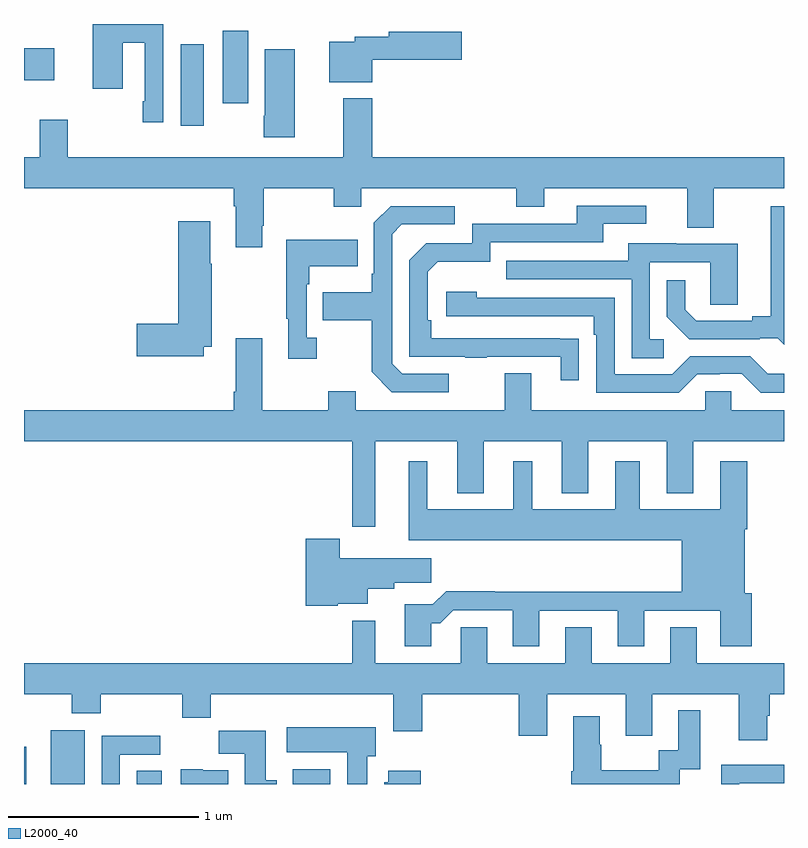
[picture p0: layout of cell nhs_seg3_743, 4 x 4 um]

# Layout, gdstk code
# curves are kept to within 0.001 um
import gdstk
lib = gdstk.Library(unit=1e-6, precision=1e-09)
def R(c, l, rs):  # rectangles x0, y0, x1, y1
    for r in rs: c.add(gdstk.rectangle(r[:2], r[2:], *l))
def P(c, l, *ps):  # polygons
    for p in ps: c.add(gdstk.Polygon(p, *l))
L2000_40 = (2000, 40)

nhs_seg3_743 = lib.new_cell('nhs_seg3_743')
R(nhs_seg3_743, L2000_40, [(147.14,744.4,147.319,744.682), (147.593,744.4,147.724,744.47), (148.415,744.4,148.612,744.478), (147.824,747.864,147.946,748.294), (148.046,747.984,148.18,748.364), (147,748.103,147.16,748.273)])
P(nhs_seg3_743, L2000_40, [(147.732,748.4),(147.362,748.4),(147.362,748.059),(147.52,748.059),(147.52,748.301),(147.636,748.301),(147.636,747.994),(147.624,747.994),(147.624,747.882),(147.732,747.882)],
  [(148.834,748.211),(149.305,748.211),(149.305,748.358),(148.92,748.358),(148.92,748.333),(148.74,748.333),(148.74,748.306),(148.607,748.306),(148.607,748.094),(148.834,748.094)],
  [(148.426,748.267),(148.268,748.267),(148.268,747.916),(148.261,747.916),(148.261,747.804),(148.426,747.804)],
  [(148.255,747.337),(148.263,747.337),(148.263,747.536),(148.63,747.536),(148.63,747.437),(148.776,747.437),(148.776,747.536),(149.59,747.536),(149.59,747.437),(149.737,747.437),(149.737,747.536),(150.491,747.536),(150.491,747.328),(150.631,747.328),(150.631,747.536),(151,747.536),(151,747.7),(148.832,747.7),(148.832,748.009),(148.679,748.009),(148.679,747.7),(147.231,747.7),(147.231,747.895),(147.083,747.895),(147.083,747.7),(147,747.7),(147,747.536),(148.103,747.536),(148.103,747.44),(148.115,747.44),(148.115,747.225),(148.255,747.225)],
  [(149.921,746.744),(149.144,746.745),(149.144,746.842),(149.124,746.842),(149.124,747.096),(149.177,747.149),(149.454,747.149),(149.454,747.252),(150.049,747.252),(150.049,747.348),(150.274,747.348),(150.274,747.444),(149.909,747.444),(149.909,747.348),(149.358,747.348),(149.358,747.246),(149.118,747.246),(149.028,747.156),(149.028,746.649),(149.323,746.649),(149.323,746.644),(149.435,746.644),(149.435,746.649),(149.825,746.649),(149.825,746.526),(149.921,746.526)],
  [(151,747.441),(150.929,747.441),(150.929,746.861),(150.833,746.861),(150.833,746.838),(150.538,746.838),(150.481,746.895),(150.481,747.052),(150.384,747.052),(150.384,746.858),(150.5,746.742),(150.872,746.742),(150.872,746.745),(150.966,746.745),(151,746.711)],
  [(149.236,746.559),(148.992,746.559),(148.938,746.613),(148.938,747.294),(148.989,747.345),(149.266,747.345),(149.266,747.441),(148.929,747.441),(148.842,747.354),(148.842,747.085),(148.83,747.085),(148.83,746.989),(148.573,746.989),(148.573,746.842),(148.83,746.842),(148.83,746.569),(148.935,746.463),(149.236,746.463)],
  [(147.946,746.702),(147.987,746.702),(147.987,747.137),(147.979,747.137),(147.979,747.361),(147.812,747.361),(147.812,746.822),(147.594,746.822),(147.594,746.651),(147.946,746.651)],
  [(148.54,746.75),(148.488,746.75),(148.488,747.029),(148.501,747.029),(148.501,747.125),(148.757,747.125),(148.757,747.265),(148.38,747.265),(148.38,746.849),(148.391,746.849),(148.391,746.637),(148.54,746.637)],
  [(150.367,746.742),(150.294,746.742),(150.294,747.147),(150.612,747.147),(150.612,746.923),(150.757,746.923),(150.757,747.243),(150.433,747.243),(150.433,747.247),(150.179,747.247),(150.179,747.153),(149.539,747.153),(149.539,747.057),(150.198,747.057),(150.198,746.641),(150.367,746.641)],
  [(151,746.559),(150.915,746.559),(150.822,746.652),(150.507,746.652),(150.411,746.556),(150.108,746.556),(150.108,746.958),(149.384,746.958),(149.384,746.992),(149.223,746.992),(149.223,746.862),(149.999,746.862),(149.999,746.765),(150.012,746.765),(150.012,746.46),(150.447,746.46),(150.543,746.556),(150.662,746.556),(150.662,746.559),(150.777,746.559),(150.877,746.459),(151,746.459)],
  [(149.671,746.563),(149.531,746.563),(149.531,746.368),(148.747,746.368),(148.747,746.467),(148.6,746.467),(148.6,746.368),(148.255,746.368),(148.255,746.746),(148.115,746.746),(148.115,746.464),(148.103,746.464),(148.103,746.368),(147,746.368),(147,746.204),(148.728,746.204),(148.728,745.755),(148.849,745.755),(148.849,746.204),(149.279,746.204),(149.279,745.931),(149.419,745.931),(149.419,746.204),(149.831,746.204),(149.831,745.931),(149.971,745.931),(149.971,746.204),(150.383,746.204),(150.383,745.931),(150.523,745.931),(150.523,746.204),(151,746.204),(151,746.368),(150.723,746.368),(150.723,746.466),(150.585,746.466),(150.585,746.368),(149.671,746.368)],
  [(149.143,745.247),(149.192,745.247),(149.259,745.314),(149.573,745.314),(149.573,745.125),(149.713,745.125),(149.713,745.311),(150.125,745.311),(150.125,745.125),(150.265,745.125),(150.265,745.311),(150.665,745.311),(150.665,745.125),(150.83,745.125),(150.83,745.404),(150.793,745.404),(150.793,745.742),(150.806,745.742),(150.806,746.098),(150.665,746.098),(150.665,745.846),(150.241,745.846),(150.241,746.098),(150.113,746.098),(150.113,745.846),(149.674,745.846),(149.674,746.098),(149.576,746.098),(149.576,745.846),(149.122,745.846),(149.122,746.098),(149.024,746.098),(149.024,745.682),(150.461,745.682),(150.461,745.412),(149.477,745.412),(149.477,745.415),(149.222,745.415),(149.152,745.345),(149.003,745.345),(149.003,745.125),(149.143,745.125)],
  [(148.65,745.349),(148.81,745.349),(148.81,745.427),(148.948,745.427),(148.948,745.459),(149.143,745.459),(149.143,745.588),(148.662,745.588),(148.662,745.69),(148.484,745.69),(148.484,745.337),(148.65,745.337)],
  [(147,744.872),(147.25,744.872),(147.25,744.773),(147.405,744.773),(147.405,744.872),(147.832,744.872),(147.832,744.748),(147.983,744.748),(147.983,744.872),(148.943,744.872),(148.943,744.678),(149.096,744.678),(149.096,744.872),(149.603,744.872),(149.603,744.654),(149.755,744.654),(149.755,744.872),(150.167,744.872),(150.167,744.654),(150.307,744.654),(150.307,744.872),(150.761,744.872),(150.761,744.63),(150.913,744.63),(150.913,744.759),(150.926,744.759),(150.926,744.872),(151,744.872),(151,745.036),(150.541,745.036),(150.541,745.226),(150.401,745.226),(150.401,745.036),(149.989,745.036),(149.989,745.226),(149.849,745.226),(149.849,745.036),(149.437,745.036),(149.437,745.226),(149.298,745.226),(149.298,745.036),(148.849,745.036),(148.849,745.258),(148.728,745.258),(148.728,745.036),(147,745.036)],
  [(150.45,744.477),(150.559,744.477),(150.559,744.787),(150.443,744.787),(150.443,744.578),(150.342,744.578),(150.342,744.472),(150.039,744.472),(150.039,744.606),(150.031,744.606),(150.031,744.757),(149.891,744.757),(149.891,744.468),(149.879,744.468),(149.879,744.4),(150.45,744.4)],
  [(148.807,744.546),(148.852,744.546),(148.852,744.7),(148.383,744.7),(148.383,744.566),(148.7,744.566),(148.7,744.4),(148.807,744.4)],
  [(148.33,744.42),(148.273,744.42),(148.273,744.679),(148.024,744.679),(148.024,744.56),(148.163,744.56),(148.163,744.4),(148.33,744.4)],
  [(147.504,744.555),(147.718,744.555),(147.718,744.654),(147.408,744.654),(147.408,744.4),(147.504,744.4)],
  [(147.011,744.442),(147.012,744.442),(147.012,744.596),(147,744.596),(147,744.4),(147.011,744.4)],
  [(150.765,744.405),(151,744.405),(151,744.501),(150.669,744.501),(150.669,744.4),(150.765,744.4)],
  [(148.075,744.472),(147.942,744.472),(147.942,744.478),(147.824,744.478),(147.824,744.4),(148.075,744.4)],
  [(149.087,744.469),(148.916,744.469),(148.916,744.408),(148.895,744.408),(148.895,744.4),(149.087,744.4)])

lib.write_gds('nhs_seg3_743.gds')
